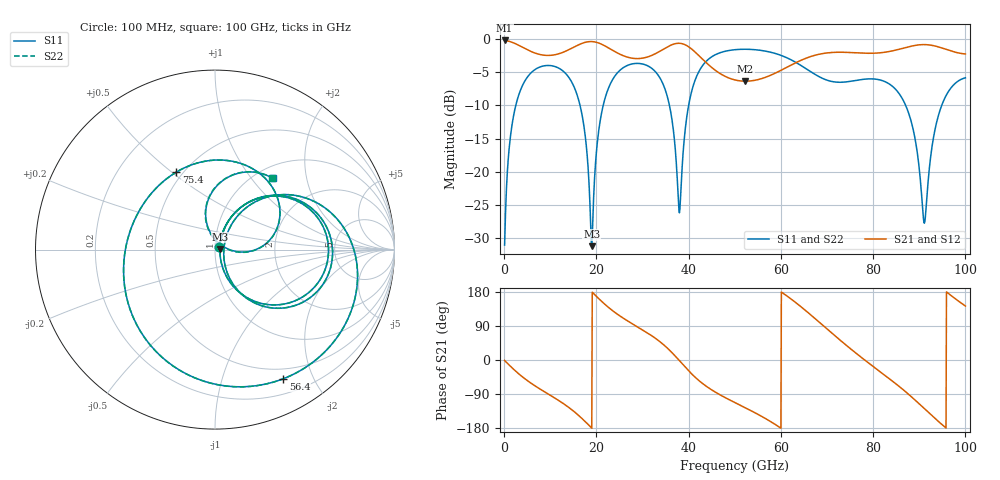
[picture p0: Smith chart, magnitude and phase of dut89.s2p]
! Touchstone file exported from HFSS 2026.1.0
!  File:  C:/ffzhzh/LocalFiles/Ansys_Project_Files/temp_train_TSV_RDL_89_1783630764_29156.aedt
!  Generated:  05:07:46 AM Jul 10, 2026
!  Design:  TSV_RDL
!  Project:  temp_train_TSV_RDL_89_1783630764_29156
! Variables:
!  h_bsmrdl = 2.46um
!  h_ox = 20um
!  h_rdl = 5um
!  h_sub = 97.51um
!  h_tmrdl = 2.16um
!  h_tsv = 97.51um
!  h_via = 3um
!  l_bsmrdl = 649.31um
!  l_sub = 2919.57um
!  l_tmrdl = 115.37um
!  m_sub = 200um
!  pitch = 58.26um
!  r_tsv = 9.34um
!  s_tmrdl = 10um
!  w_bsmrdl = 14.28um
!  w_sub = 500um
!  w_tmrdl = 22.44um
!  x_tsv_center1 = 126.59um
!  x_tsv_center2 = 790.18um
!  x_tsv_center3 = 927.99um
!  x_tsv_center4 = 1591.58um
!  x_tsv_center5 = 1729.39um
!  x_tsv_center6 = 2392.98um
# GHz S MA R 50.000000
! Terminal data exported
! Port[1] = TM_RDL1_1_T1
! Port[2] = TM_RDL5_1_T1
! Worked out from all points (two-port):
!   1000 points, 100 MHz to 100 GHz, reference 50 ohm
!   highest |S21| = -0.21 dB at 100 MHz (marker M1); lowest = -6.3 dB at 52.3 GHz (marker M2)
!   |S21| within 3 dB of the highest: start of sweep to 43.29 GHz; 64.31 GHz to end of sweep
!   lowest |S11| = -31.2 dB at 19 GHz (marker M3), VSWR 1.06, Z = 52.8 + j0.333 ohm
!   |S11| at or under -10 dB: 16.46 GHz to 21.47 GHz (5.014 GHz wide, 26.4 % of centre); 35.84 GHz to 39.99 GHz (4.151 GHz wide, 10.9 % of centre); 87.06 GHz to 94.86 GHz (7.801 GHz wide, 8.58 % of centre) (the widest 3 of 4)
!   |S22| runs from -31.2 to -1.5 dB; largest |S21 - S12| = 1.7e-13
!   S11 on the Smith chart (normalised r, x): 100 MHz: 1.05, +0.03; 56.4 GHz: 0.37, -1.60; 75.4 GHz: 0.46, +0.52; 100 GHz: 1.19, +1.28
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0.1  0.02815 29.5  0.9757 -1.3  0.9757 -1.3  0.02815 29.5
! Gamma 0 0 0 0
! Port Impedance 50 0 50 0
1.7  0.2252 62.2  0.9459 -20.5  0.9459 -20.5  0.2252 62.2
4.9  0.5092 34.0  0.8346 -53.2  0.8346 -53.2  0.5092 33.9
10.6  0.6266 -8.5  0.7575 -97.5  0.7575 -97.5  0.6266 -8.5
16.8  0.2788 -59.9  0.9253 -153.5  0.9253 -153.5  0.2788 -59.9
19  0.02762 6.5  0.9569 -179.8  0.9569 -179.8  0.02756 6.5
20.6  0.2161 62.7  0.9304 160.9  0.9304 160.9  0.216 62.7
23  0.4579 41.3  0.8424 135.0  0.8424 135.0  0.4579 41.3
28.2  0.6536 1.6  0.7143 92.6  0.7143 92.6  0.6536 1.5
33.4  0.5341 -36.3  0.7962 51.8  0.7962 51.8  0.5341 -36.3
38  0.04923 -2.2  0.9289 -1.7  0.9289 -1.7  0.04933 -2.2
41.5  0.5013 37.7  0.7923 -46.5  0.7923 -46.5  0.5013 37.7
50.1  0.8318 -23.8  0.4917 -112.8  0.4917 -112.8  0.8318 -23.9
52.3  0.8378 -36.6  0.4816 -126.2  0.4816 -126.2  0.8378 -36.7
56.4  0.8141 -62.1  0.5115 -152.7  0.5115 -152.7  0.814 -62.2
66.7  0.5611 -151.0  0.743 116.7  0.743 116.7  0.5609 -151.3
75.4  0.4826 116.6  0.7903 26.6  0.7903 26.6  0.4825 116.3
83.4  0.4614 43.1  0.8046 -48.3  0.8046 -48.3  0.4612 42.9
88.2  0.243 1.7  0.8827 -96.0  0.8827 -96.0  0.2427 1.2
91.1  0.04109 51.2  0.9081 -128.3  0.9081 -128.3  0.03899 51.4
94.3  0.2769 98.1  0.8693 -163.9  0.8693 -163.9  0.2767 98.5
100  0.5109 51.1  0.7724 142.4  0.7724 142.4  0.511 51.4
